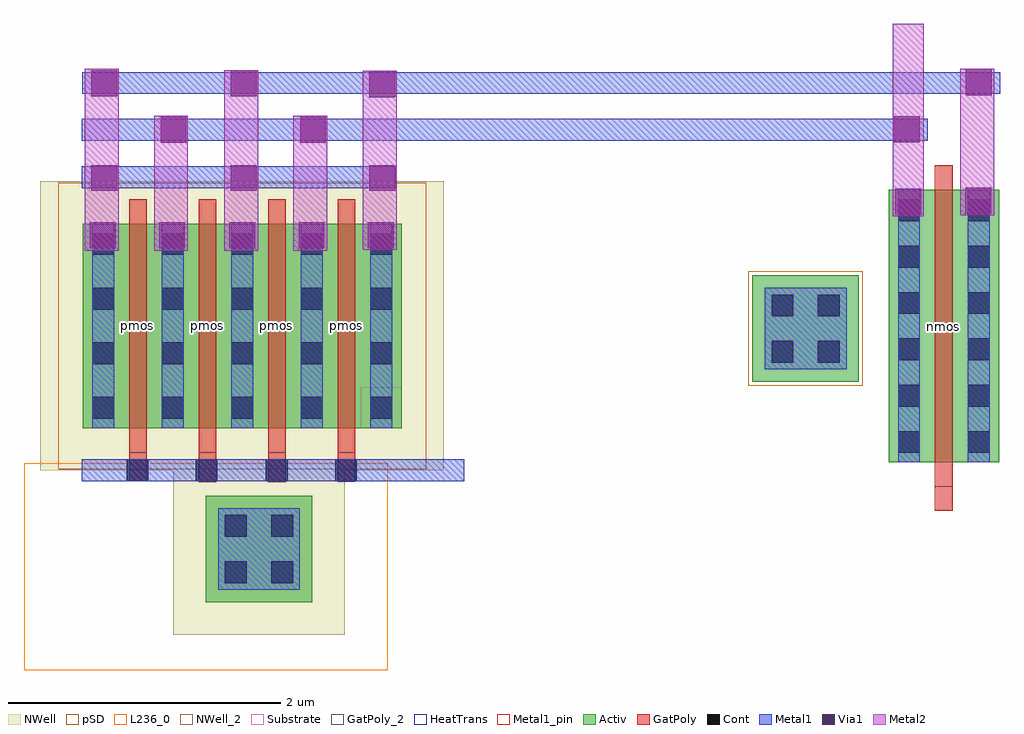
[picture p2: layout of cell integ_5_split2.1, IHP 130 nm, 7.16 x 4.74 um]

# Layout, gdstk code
import gdstk
lib = gdstk.Library(unit=1e-6, precision=1e-09)
def R(c, l, rs):  # rectangles x0, y0, x1, y1
    for r in rs: c.add(gdstk.rectangle(r[:2], r[2:], *l))
def A(c, l, x, y, w, h, nx, ny, dx, dy):  # array of equal rectangles
    R(c, l, [(x+i*dx, y+j*dy, x+i*dx+w, y+j*dy+h) for i in range(nx) for j in range(ny)])
Activ = (1, 0)
GatPoly = (5, 0)
GatPoly_2 = (5, 2)
Cont = (6, 0)
Metal1 = (8, 0)
Metal1_pin = (8, 2)
Metal2 = (10, 0)
pSD = (14, 0)
Via1 = (19, 0)
NWell = (31, 0)
NWell_2 = (31, 2)
Substrate = (40, 0)
HeatTrans = (51, 0)
L236_0 = (236, 0)

ntap = lib.new_cell('ntap')
R(ntap, Activ, [(0,0,0.78,0.78)])
R(ntap, Cont, [(0.14,0.14,0.3,0.3), (0.48,0.14,0.64,0.3), (0.14,0.48,0.3,0.64), (0.48,0.48,0.64,0.64)])
R(ntap, Metal1, [(0.09,0.09,0.69,0.69)])
R(ntap, Metal1_pin, [(0.09,0.09,0.69,0.69)])
R(ntap, NWell, [(-0.24,-0.24,1.02,1.02)])
R(ntap, NWell_2, [(0,0,0.78,0.78)])
R(ntap, L236_0, [(-1.334,-0.5,1.334,1.02)])
ntap.add(gdstk.Label('well', (0,0), layer=63, texttype=0))
ntap.add(gdstk.Label('[@instanceName]', (0,0.26), layer=236, texttype=1))

ptap = lib.new_cell('ptap')
R(ptap, Activ, [(0,0,0.78,0.78)])
R(ptap, Cont, [(0.14,0.14,0.3,0.3), (0.48,0.14,0.64,0.3), (0.14,0.48,0.3,0.64), (0.48,0.48,0.64,0.64)])
R(ptap, Metal1, [(0.09,0.09,0.69,0.69)])
R(ptap, Metal1_pin, [(0.09,0.09,0.69,0.69)])
R(ptap, pSD, [(-0.03,-0.03,0.81,0.81)])

integ_5_split2_1 = lib.new_cell('integ_5_split2.1')
A(integ_5_split2_1, Activ, -4.517, 1.291, 0.3, 0.3, 5, 1, 0.51, 0)
R(integ_5_split2_1, Activ, [(1.395,1.039,1.695,1.339), (1.395,1.039,2.205,3.039), (1.905,1.039,2.205,1.339), (-4.517,1.291,-2.177,2.791)])
R(integ_5_split2_1, GatPoly, [(1.735,0.685,1.865,3.219), (-3.667,0.893,-3.537,2.971), (-3.157,0.893,-3.027,2.971), (-2.647,0.896,-2.517,2.971), (-4.177,0.9,-4.047,2.971), (-4.177,1.111,-4.047,2.971), (-4.177,1.111,-4.047,2.971)])
R(integ_5_split2_1, GatPoly_2, [(1.735,0.859,1.865,3.219), (1.735,0.859,1.865,3.219)])
A(integ_5_split2_1, Cont, 1.465, 1.109, 0.16, 0.16, 1, 6, 0, 0.34)
A(integ_5_split2_1, Cont, 1.975, 1.109, 0.16, 0.16, 1, 6, 0, 0.34)
A(integ_5_split2_1, Cont, -4.447, 1.361, 0.16, 0.16, 5, 4, 0.51, 0.4)
R(integ_5_split2_1, Cont, [(-4.196,0.904,-4.036,1.064), (-3.689,0.904,-3.529,1.064), (-3.173,0.904,-3.013,1.064), (-2.666,0.904,-2.506,1.064)])
A(integ_5_split2_1, Metal1, -3.937, 1.291, 0.16, 1.5, 4, 1, 0.51, 0)
R(integ_5_split2_1, Metal1, [(-4.525,0.902,-1.72,1.062), (1.465,1.039,1.625,3.039), (1.975,1.039,2.135,3.039), (-4.447,1.291,-4.287,2.791), (-4.447,1.291,-4.287,2.791), (-4.447,1.291,-4.287,2.791), (-3.937,1.291,-3.777,2.791), (-3.937,1.291,-3.777,2.791), (-4.525,3.051,-2.218,3.211), (-4.525,3.399,1.682,3.559), (-4.521,3.743,2.212,3.903)])
R(integ_5_split2_1, Metal1_pin, [(1.465,1.039,1.625,3.039), (1.465,1.039,1.625,3.039), (1.975,1.039,2.135,3.039), (1.975,1.039,2.135,3.039)])
R(integ_5_split2_1, Metal2, [(-4.502,2.591,-4.254,3.926), (-3.994,2.591,-3.746,3.583), (-3.479,2.591,-3.231,3.918), (-2.971,2.591,-2.723,3.584), (-2.462,2.601,-2.213,3.914), (1.424,2.847,1.654,4.258), (1.92,2.854,2.168,3.928)])
R(integ_5_split2_1, pSD, [(-4.697,0.991,-1.997,3.091)])
R(integ_5_split2_1, Via1, [(-4.465,2.61,-4.275,2.8), (-3.957,2.61,-3.767,2.8), (-3.442,2.61,-3.252,2.8), (-2.934,2.61,-2.744,2.8), (-2.425,2.61,-2.235,2.8), (1.443,2.856,1.633,3.046), (1.957,2.863,2.147,3.053), (-4.454,3.031,-4.264,3.221), (-3.431,3.031,-3.241,3.221), (-2.414,3.031,-2.224,3.221), (-3.946,3.384,-3.756,3.574), (-2.923,3.384,-2.733,3.574), (1.432,3.388,1.622,3.578), (-2.414,3.72,-2.224,3.91), (-4.454,3.725,-4.264,3.915), (-3.431,3.725,-3.241,3.915), (1.962,3.732,2.152,3.922)])
R(integ_5_split2_1, NWell, [(-4.827,0.981,-1.867,3.101)])
R(integ_5_split2_1, Substrate, [(-2.477,1.291,-2.177,1.591), (-2.477,1.291,-2.177,1.591)])
A(integ_5_split2_1, HeatTrans, -4.177, 1.111, 0.13, 1.86, 4, 1, 0.51, 0)
R(integ_5_split2_1, HeatTrans, [(1.735,0.859,1.865,3.219)])
integ_5_split2_1.add(gdstk.Reference(ntap, (-3.614,0.014)))
integ_5_split2_1.add(gdstk.Reference(ptap, (0.396,1.631)))
integ_5_split2_1.add(gdstk.Label('pmos', (-4.112,2.041), layer=63, texttype=0))
integ_5_split2_1.add(gdstk.Label('pmos', (-4.112,2.041), layer=51, texttype=0))
integ_5_split2_1.add(gdstk.Label('pmos', (-3.602,2.041), layer=51, texttype=0))
integ_5_split2_1.add(gdstk.Label('pmos', (-3.092,2.041), layer=51, texttype=0))
integ_5_split2_1.add(gdstk.Label('pmos', (-2.582,2.041), layer=51, texttype=0))
integ_5_split2_1.add(gdstk.Label('nmos', (1.8,2.039), layer=51, texttype=0))

lib.write_gds('integ_5_split2.1.gds')
